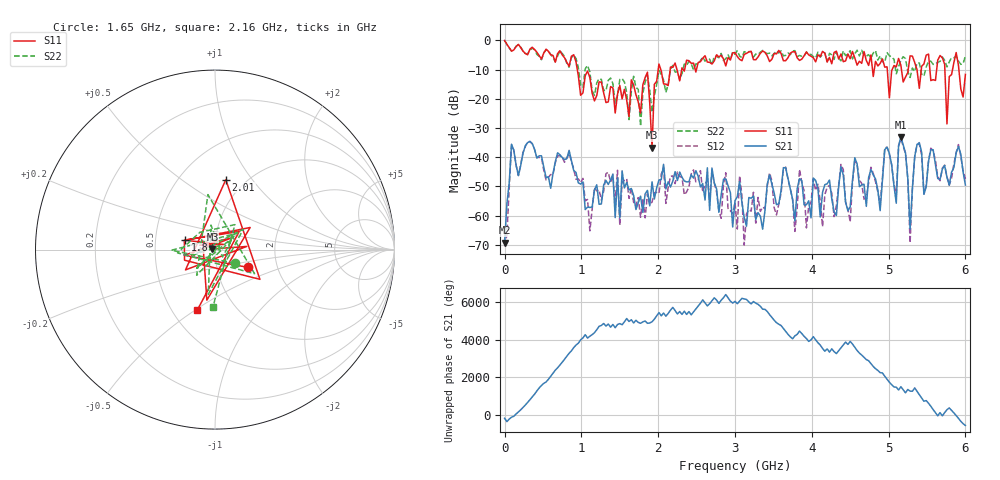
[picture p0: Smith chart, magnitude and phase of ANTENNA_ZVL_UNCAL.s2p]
#  HZ  S  DB  R  50.0
! Rohde & Schwarz ZVL13 2Ports - Version 3.20 - 1303.6509k13 SN: 100953
! Date: 2024-10-09 07:54:20
! Data & Calibration Information:
! Trc1:S11(Cal Off) Trc4:S21(Cal Off) Trc2:S12(Cal Off) Trc3:S22(Cal Off)
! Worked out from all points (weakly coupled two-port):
!   201 points, 9 kHz to 6 GHz, reference 50 ohm
!   highest |S21| = -33.04 dB at 5.16 GHz (marker M1); lowest = -69.3 dB at 9 kHz (marker M2)
!   lowest |S11| = -36.7 dB at 1.92 GHz (marker M3), VSWR 1.03, Z = 48.6 + j0.347 ohm
!   |S11| at or under -10 dB: 946.5 MHz to 2 GHz (1.054 GHz wide, 71.5 % of centre); 2.034 GHz to 2.156 GHz (121.5 MHz wide, 5.8 % of centre); 5.168 GHz to 5.255 GHz (87.61 MHz wide, 1.68 % of centre) (the widest 3 of 12)
!   |S22| runs from -29.4 to 0.0 dB; largest |S21 - S12| = 0.0038
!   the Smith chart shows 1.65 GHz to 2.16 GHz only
!   S11 on the Smith chart (normalised r, x): 1.65 GHz: 1.42, -0.30; 1.8 GHz: 0.71, +0.08; 2.01 GHz: 0.82, +0.75; 2.16 GHz: 0.67, -0.51
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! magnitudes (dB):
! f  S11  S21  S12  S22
! 9 kHz  0.0  -69.3  -70.5  0.0
! 90.01 MHz  -3.7  -35.6  -35.7  -3.6
! 1.02 GHz  -18.0  -48.5  -47.2  -16.1
! 1.11 GHz  -12.7  -57.2  -65.2  -10.8
! 1.65 GHz  -13.5  -50.7  -50.4  -17.4
! 1.8 GHz  -15.2  -58.9  -54.2  -18.1
! 1.92 GHz  -36.7  -48.4  -55.3  -24.6
! 2.01 GHz  -8.1  -47.8  -52.4  -10.2
! 2.16 GHz  -9.1  -50.2  -46.5  -9.9
! 3 GHz  -4.2  -54.9  -55.5  -4.8
! 4.02 GHz  -5.9  -47.1  -47.4  -5.6
! 4.5 GHz  -6.3  -57.0  -62.2  -3.5
! 4.56 GHz  -6.0  -40.2  -41.3  -4.6
! 4.89 GHz  -7.9  -58.3  -55.7  -5.3
! 5.01 GHz  -19.6  -38.7  -39.0  -5.2
! 5.1 GHz  -9.1  -55.7  -52.6  -11.4
! 5.16 GHz  -8.5  -33.0  -33.8  -6.8
! 5.28 GHz  -5.3  -64.6  -69.3  -12.7
! 5.37 GHz  -10.0  -35.7  -35.6  -7.8
! 5.7 GHz  -5.9  -44.1  -43.7  -5.7
! 5.76 GHz  -28.6  -46.8  -46.7  -9.1
! 6 GHz  -11.6  -49.5  -47.4  -5.4
